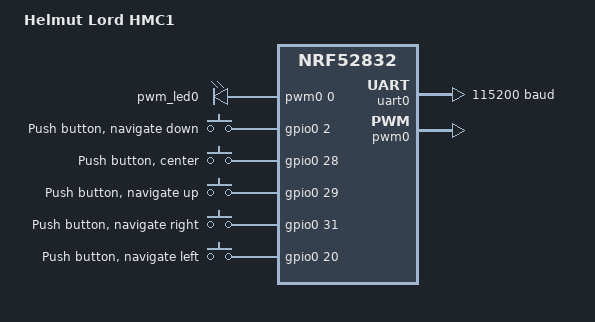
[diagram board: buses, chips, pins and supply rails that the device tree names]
/*
 * Copyright (c) 2024 Helmut Lord <helmut@helmutlord.com>
 *
 * SPDX-License-Identifier: Apache-2.0
 */

/dts-v1/;
#include <nordic/nrf52832_qfaa.dtsi>
#include "hmc1_nrf52832-pinctrl.dtsi"
#include <zephyr/dt-bindings/input/input-event-codes.h>

/ {
	model = "Helmut Lord HMC1";
	compatible = "helmutlord,hmc1-nrf52832";

	chosen {
		zephyr,console = &uart0;
		zephyr,shell-uart = &uart0;
		zephyr,uart-mcumgr = &uart0;
		zephyr,bt-mon-uart = &uart0;
		zephyr,bt-c2h-uart = &uart0;
		zephyr,sram = &sram0;
		zephyr,flash = &flash0;
		zephyr,code-partition = &slot0_partition;
	};

	pwmleds {
		compatible = "pwm-leds";
		pwm_led0: pwm_led_0 {
			pwms = <&pwm0 0 PWM_MSEC(20) PWM_POLARITY_INVERTED>;
		};
	};

	buttons {
		compatible = "gpio-keys";
		button_down: button_down {
			gpios = <&gpio0 2 GPIO_ACTIVE_HIGH>;
			label = "Push button, navigate down";
			zephyr,code = <INPUT_KEY_0>;
		};
		button_center: button_center {
			gpios = <&gpio0 28 GPIO_ACTIVE_HIGH>;
			label = "Push button, center";
			zephyr,code = <INPUT_KEY_1>;
		};
		button_up: button_up {
			gpios = <&gpio0 29 GPIO_ACTIVE_HIGH>;
			label = "Push button, navigate up";
			zephyr,code = <INPUT_KEY_2>;
		};
		button_right: button_right {
			gpios = <&gpio0 31 GPIO_ACTIVE_HIGH>;
			label = "Push button, navigate right";
			zephyr,code = <INPUT_KEY_3>;
		};
		button_left: button_left {
			gpios = <&gpio0 20 GPIO_ACTIVE_HIGH>;
			label = "Push button, navigate left";
			zephyr,code = <INPUT_KEY_3>;
		};
	};

	aliases {
		pwm-led0 = &pwm_led0;
		sw0 = &button_center;
		mcuboot-button0 = &button_center;
		watchdog0 = &wdt0;
	};
};

&uicr {
	gpio-as-nreset;
};

&gpiote {
	status = "okay";
};

&gpio0 {
	status = "okay";
};

&uart0 {
	status = "okay";
	compatible = "nordic,nrf-uarte";
	current-speed = <115200>;
	pinctrl-0 = <&uart0_default>;
	pinctrl-1 = <&uart0_sleep>;
	pinctrl-names = "default", "sleep";
};

&pwm0 {
	status = "okay";
	pinctrl-0 = <&pwm0_default>;
	pinctrl-1 = <&pwm0_sleep>;
	pinctrl-names = "default", "sleep";
};

&flash0 {
	partitions {
		compatible = "fixed-partitions";
		#address-cells = <1>;
		#size-cells = <1>;

		boot_partition: partition@0 {
			label = "mcuboot";
			reg = <0x00000000 0xc000>;
		};
		slot0_partition: partition@c000 {
			label = "image-0";
			reg = <0x0000C000 0x37000>;
		};
		slot1_partition: partition@43000 {
			label = "image-1";
			reg = <0x00043000 0x37000>;
		};
		storage_partition: partition@7a000 {
			label = "storage";
			reg = <0x0007a000 0x00006000>;
		};
	};
};
